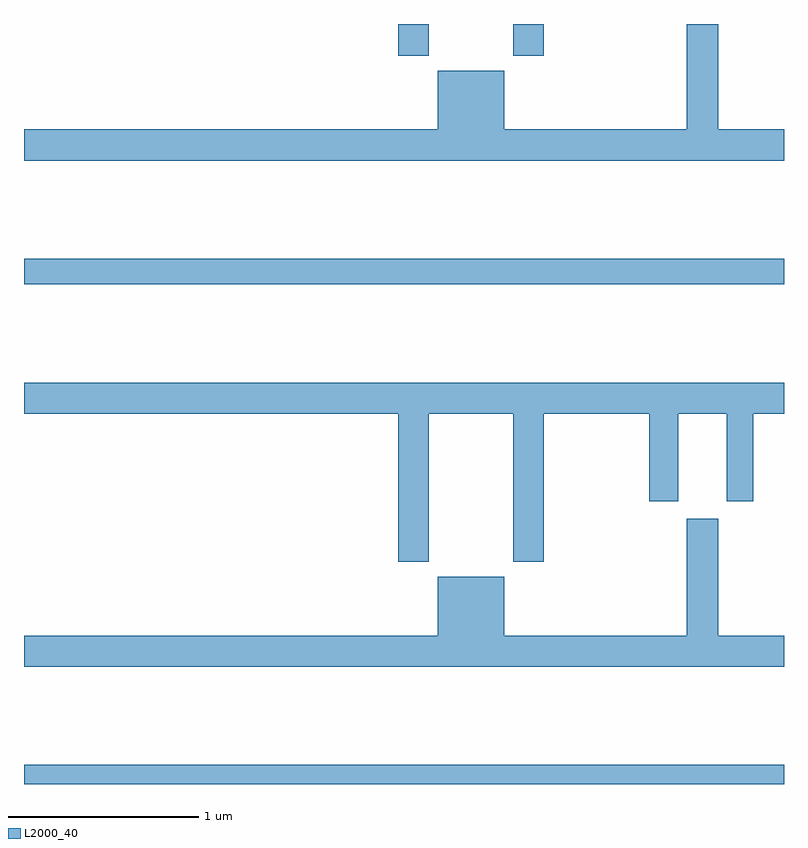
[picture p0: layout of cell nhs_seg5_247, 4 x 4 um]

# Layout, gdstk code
import gdstk
lib = gdstk.Library(unit=1e-6, precision=1e-09)
def R(c, l, rs):  # rectangles x0, y0, x1, y1
    for r in rs: c.add(gdstk.rectangle(r[:2], r[2:], *l))
def P(c, l, *ps):  # polygons
    for p in ps: c.add(gdstk.Polygon(p, *l))
L2000_40 = (2000, 40)

nhs_seg5_247 = lib.new_cell('nhs_seg5_247')
R(nhs_seg5_247, L2000_40, [(125,866.799,129,866.9), (125,869.428,129,869.564), (126.971,870.633,127.131,870.799), (127.576,870.633,127.736,870.799)])
P(nhs_seg5_247, L2000_40, [(129,870.244),(128.653,870.244),(128.653,870.799),(128.489,870.799),(128.489,870.244),(127.528,870.244),(127.528,870.553),(127.178,870.553),(127.178,870.244),(125,870.244),(125,870.08),(129,870.08)],
  [(127.131,868.748),(127.576,868.748),(127.576,867.969),(127.736,867.969),(127.736,868.748),(128.291,868.748),(128.291,868.287),(128.443,868.287),(128.443,868.748),(128.699,868.748),(128.699,868.287),(128.839,868.287),(128.839,868.748),(129,868.748),(129,868.912),(125,868.912),(125,868.748),(126.971,868.748),(126.971,867.969),(127.131,867.969)],
  [(129,867.58),(128.653,867.58),(128.653,868.195),(128.489,868.195),(128.489,867.58),(127.528,867.58),(127.528,867.889),(127.178,867.889),(127.178,867.58),(125,867.58),(125,867.416),(129,867.416)])

lib.write_gds('nhs_seg5_247.gds')
